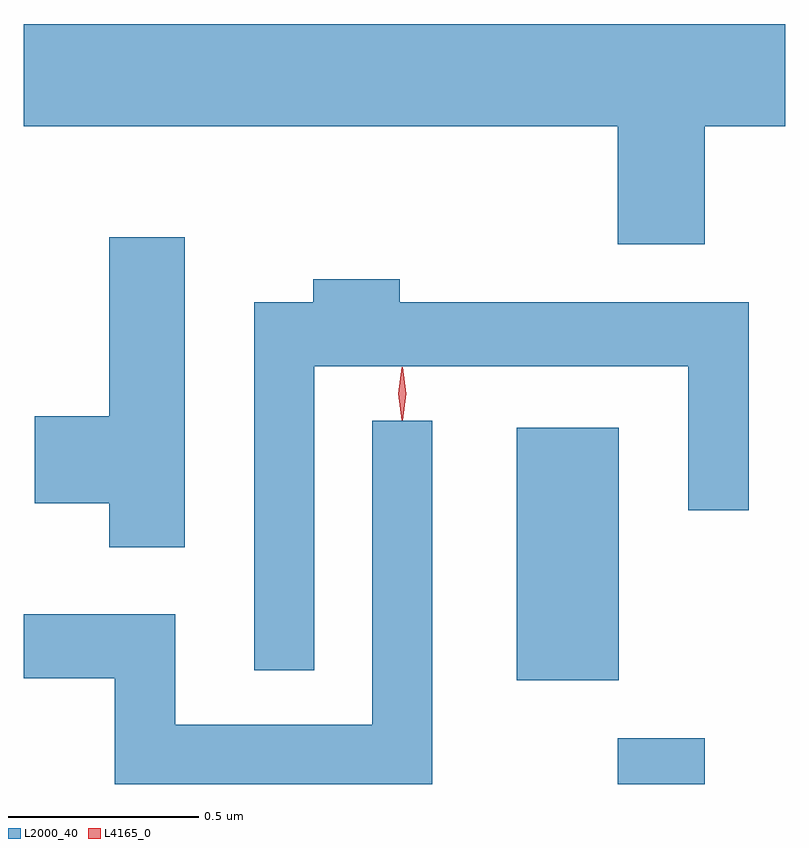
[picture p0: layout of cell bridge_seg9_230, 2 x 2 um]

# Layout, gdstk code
import gdstk
lib = gdstk.Library(unit=1e-6, precision=1e-09)
def R(c, l, rs):  # rectangles x0, y0, x1, y1
    for r in rs: c.add(gdstk.rectangle(r[:2], r[2:], *l))
def P(c, l, *ps):  # polygons
    for p in ps: c.add(gdstk.Polygon(p, *l))
L2000_40 = (2000, 40)
L4165_0 = (4165, 0)

bridge_seg9_230 = lib.new_cell('bridge_seg9_230')
R(bridge_seg9_230, L2000_40, [(1488.691,1967.889,1488.919,1968.009), (1488.426,1968.161,1488.694,1968.824)])
P(bridge_seg9_230, L2000_40, [(1488.919,1969.616),(1489.131,1969.616),(1489.131,1969.884),(1487.131,1969.884),(1487.131,1969.616),(1488.691,1969.616),(1488.691,1969.306),(1488.919,1969.306)],
  [(1487.554,1969.324),(1487.356,1969.324),(1487.356,1968.854),(1487.161,1968.854),(1487.161,1968.626),(1487.356,1968.626),(1487.356,1968.511),(1487.554,1968.511)],
  [(1487.894,1968.986),(1488.876,1968.986),(1488.876,1968.608),(1489.034,1968.608),(1489.034,1969.154),(1488.119,1969.154),(1488.119,1969.214),(1487.891,1969.214),(1487.891,1969.154),(1487.736,1969.154),(1487.736,1968.188),(1487.894,1968.188)],
  [(1488.204,1968.843),(1488.046,1968.843),(1488.046,1968.044),(1487.529,1968.044),(1487.529,1968.334),(1487.131,1968.334),(1487.131,1968.166),(1487.371,1968.166),(1487.371,1967.889),(1488.204,1967.889)])
P(bridge_seg9_230, L4165_0, [(1488.124,1968.844),(1488.115,1968.914),(1488.124,1968.983),(1488.125,1968.983),(1488.126,1968.983),(1488.135,1968.914),(1488.126,1968.844),(1488.125,1968.844)],
  [(1488.124,1968.847),(1488.115,1968.914),(1488.124,1968.98),(1488.125,1968.981),(1488.126,1968.98),(1488.135,1968.914),(1488.126,1968.847),(1488.125,1968.847)])

lib.write_gds('bridge_seg9_230.gds')
